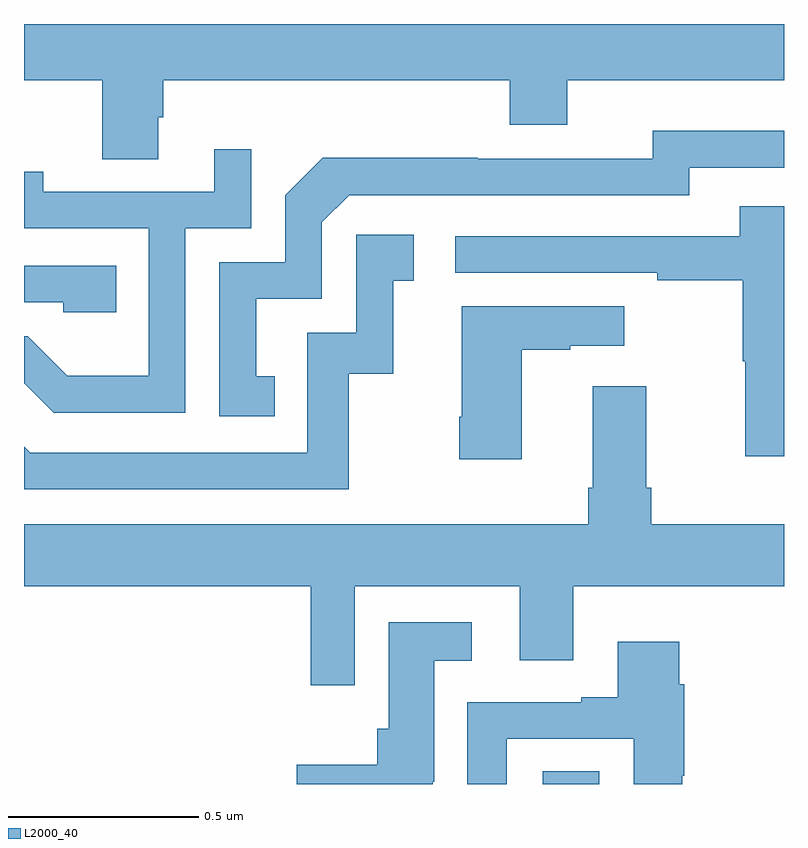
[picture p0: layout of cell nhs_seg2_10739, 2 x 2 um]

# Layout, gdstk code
import gdstk
lib = gdstk.Library(unit=1e-6, precision=1e-09)
def R(c, l, rs):  # rectangles x0, y0, x1, y1
    for r in rs: c.add(gdstk.rectangle(r[:2], r[2:], *l))
def P(c, l, *ps):  # polygons
    for p in ps: c.add(gdstk.Polygon(p, *l))
L2000_40 = (2000, 40)

nhs_seg2_10739 = lib.new_cell('nhs_seg2_10739')
R(nhs_seg2_10739, L2000_40, [(246.365,629.8,246.514,629.834)])
P(nhs_seg2_10739, L2000_40, [(245.353,631.554),(245.366,631.554),(245.366,631.652),(246.278,631.652),(246.278,631.535),(246.43,631.535),(246.43,631.652),(247,631.652),(247,631.8),(245,631.8),(245,631.652),(245.206,631.652),(245.206,631.444),(245.353,631.444)],
  [(245.66,630.873),(245.611,630.873),(245.611,631.077),(245.784,631.077),(245.784,631.278),(245.856,631.35),(246.75,631.35),(246.75,631.422),(247,631.422),(247,631.519),(246.654,631.519),(246.654,631.446),(246.194,631.446),(246.194,631.448),(245.786,631.448),(245.688,631.35),(245.688,631.173),(245.514,631.173),(245.514,630.768),(245.66,630.768)],
  [(245.424,631.263),(245.598,631.263),(245.598,631.471),(245.501,631.471),(245.501,631.359),(245.05,631.359),(245.05,631.411),(245,631.411),(245,631.263),(245.328,631.263),(245.328,630.874),(245.114,630.874),(245.01,630.978),(245,630.978),(245,630.855),(245.078,630.777),(245.424,630.777)],
  [(247,631.321),(246.883,631.321),(246.883,631.242),(246.135,631.242),(246.135,631.146),(246.667,631.146),(246.667,631.126),(246.891,631.126),(246.891,630.912),(246.898,630.912),(246.898,630.663),(247,630.663)],
  [(245.854,630.879),(245.972,630.879),(245.972,631.125),(246.025,631.125),(246.025,631.246),(245.874,631.246),(245.874,630.987),(245.745,630.987),(245.745,630.672),(245.016,630.672),(245,630.688),(245,630.576),(245.854,630.576)],
  [(245.243,631.164),(245,631.164),(245,631.068),(245.103,631.068),(245.103,631.041),(245.243,631.041)],
  [(246.31,630.943),(246.437,630.943),(246.437,630.953),(246.58,630.953),(246.58,631.057),(246.152,631.057),(246.152,630.766),(246.145,630.766),(246.145,630.654),(246.31,630.654)],
  [(245.871,630.32),(246.305,630.32),(246.305,630.126),(246.445,630.126),(246.445,630.32),(247,630.32),(247,630.484),(246.65,630.484),(246.65,630.58),(246.637,630.58),(246.637,630.847),(246.497,630.847),(246.497,630.58),(246.485,630.58),(246.485,630.484),(245,630.484),(245,630.32),(245.755,630.32),(245.755,630.06),(245.871,630.06)],
  [(246.075,629.806),(246.079,629.806),(246.079,630.125),(246.178,630.125),(246.178,630.226),(245.96,630.226),(245.96,629.946),(245.93,629.946),(245.93,629.851),(245.718,629.851),(245.718,629.8),(246.075,629.8)],
  [(246.271,629.919),(246.605,629.919),(246.605,629.8),(246.732,629.8),(246.732,629.822),(246.737,629.822),(246.737,630.062),(246.724,630.062),(246.724,630.175),(246.563,630.175),(246.563,630.028),(246.467,630.028),(246.467,630.015),(246.167,630.015),(246.167,629.8),(246.271,629.8)])

lib.write_gds('nhs_seg2_10739.gds')
